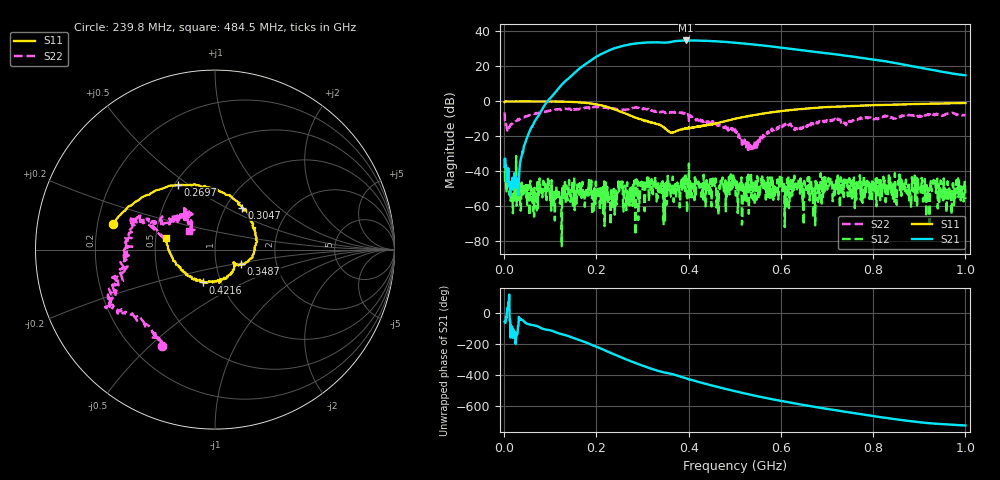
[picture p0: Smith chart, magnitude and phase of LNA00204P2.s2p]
! Created with skrf 1.9.0 (http://scikit-rf.org).
# Hz S RI R 50.0
!freq ReS11 ImS11 ReS21 ImS21 ReS12 ImS12 ReS22 ImS22
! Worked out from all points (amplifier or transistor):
!   1001 points, 1 MHz to 1 GHz, reference 50 ohm
!   highest |S21| = 34.8 dB at 394.6 MHz (marker M1)
!   |S21| within 3 dB of that: 259.5 MHz to 565.1 MHz (305.6 MHz wide, 74.1 % of centre)
!   unconditionally stable (mu >= 1): start of sweep to 94.58 MHz; 198.9 MHz to 400.4 MHz; 400.7 MHz to end of sweep (the widest 3 of 19)
!   at 166.8 MHz: K = 1.09, MAG = 33.3 dB, |S12| = -50.8 dB
!   at 500.5 MHz: K = 2.61, MAG = 34.1 dB, |S12| = -48.6 dB
!   at 1 GHz: K = 8.90, MAG = 22.9 dB, |S12| = -55.8 dB
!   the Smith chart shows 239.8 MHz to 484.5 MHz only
!   S11 on the Smith chart (normalised r, x): 239.8 MHz: 0.27, +0.11; 269.7 MHz: 0.52, +0.46; 304.7 MHz: 1.19, +0.60; 348.7 MHz: 1.32, -0.22; 421.6 MHz: 0.82, -0.31; 484.5 MHz: 0.57, +0.08
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1000000  0.9633 -0.00567  0.0078 -0.0109  -0.0177 0.0148  0.3865 0.2884
1.08892e8  0.502 -0.8512  -0.8024 -1.478  -0.00115 0.00229  0.4249 -0.3621
1.67833e8  -0.2685 -0.8847  -9.648 -0.4281  0.00136 0.00106  0.0524 -0.6368
2.08792e8  -0.6816 -0.3682  -15.12 15.98  -0.00208 -0.00287  -0.1766 -0.6609
2.39761e8  -0.5672 0.142  -1.896 33.18  -9.79e-05 -0.000567  -0.2963 -0.538
2.69731e8  -0.2044 0.3606  22.98 34.7  -0.00148 0.00111  -0.4834 -0.3577
3.04696e8  0.1513 0.2341  45.57 14.09  0.000212 -0.000693  -0.5698 -0.2298
3.34666e8  0.2182 -0.0101  47.39 -10.27  -0.00253 0.000421  -0.4995 -0.0516
3.48652e8  0.1462 -0.0821  44.2 -18.25  -0.000366 -6.54e-05  -0.4964 0.021
3.71629e8  0.1084 -0.0861  41.28 -32.86  0.000119 0.00259  -0.4523 0.1384
3.94606e8  0.0587 -0.1583  27.69 -47.6  2.52e-05 0.00412  -0.4328 0.1603
4.21579e8  -0.0693 -0.1833  6.649 -53.89  -0.000186 0.00505  -0.2176 0.1698
4.5055e8  -0.1924 -0.0986  -14.6 -51.12  0.00522 -0.00297  -0.1544 0.2217
4.84516e8  -0.2726 0.0652  -32.66 -37.36  0.00241 -0.00152  -0.1459 0.102
5.005e8  -0.2747 0.1525  -37.95 -28.89  -0.00224 -0.00298  -0.1272 0.0953
5.39461e8  -0.1901 0.3522  -41.58 -8.146  0.00154 -0.000221  -0.0545 -0.00473
5.84416e8  0.00872 0.4968  -35.06 10.32  0.00135 -0.00185  -0.1399 -0.0654
6.25375e8  0.2061 0.5341  -24.08 19.65  0.00327 -0.00292  -0.1437 -0.1078
6.67333e8  0.4064 0.495  -12.89 23.16  0.00136 -0.00181  -0.2231 -0.0452
7.53247e8  0.6825 0.2764  4.037 18.74  0.000262 -0.00398  -0.2622 -0.0124
8.34166e8  0.797 0.0151  9.97 9.01  -0.00758 -0.000996  -0.3685 -0.00695
1e9  0.7266 -0.5226  5.558 -0.3759  0.000733 0.00145  -0.2966 0.2796
